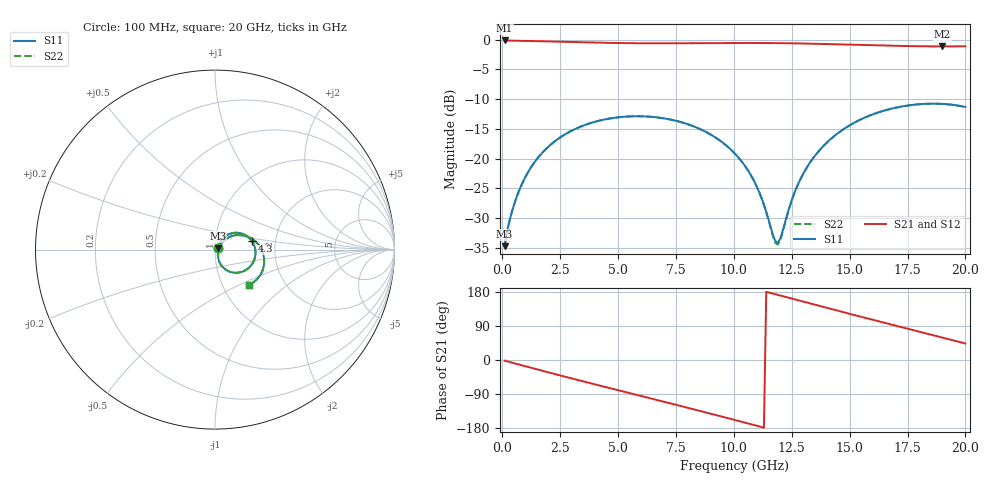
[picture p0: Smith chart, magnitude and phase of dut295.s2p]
! Touchstone file exported from HFSS 2026.1.0
!  File:  C:/ffzhzh/LocalFiles/Ansys_Project_Files/temp_train_TSV_RDL_295_1783088096_35048.aedt
!  Generated:  10:23:59 PM Jul  3, 2026
!  Design:  TSV_RDL
!  Project:  temp_train_TSV_RDL_295_1783088096_35048
! Variables:
!  h_bsmrdl = 5.26um
!  h_ox = 20um
!  h_rdl = 5um
!  h_sub = 67.37um
!  h_tmrdl = 5.58um
!  h_tsv = 67.37um
!  h_via = 3um
!  l_bsmrdl = 985.25um
!  l_sub = 5091.88um
!  l_tmrdl = 399.81um
!  m_sub = 200um
!  pitch = 35.31um
!  r_tsv = 14.95um
!  s_tmrdl = 10um
!  w_bsmrdl = 17.83um
!  w_sub = 500um
!  w_tmrdl = 27.8um
!  x_tsv_center1 = 413.71um
!  x_tsv_center2 = 1416.79um
!  x_tsv_center3 = 1844.4um
!  x_tsv_center4 = 2847.48um
!  x_tsv_center5 = 3275.09um
!  x_tsv_center6 = 4278.17um
# GHz S MA R 50.000000
! Terminal data exported
! Port[1] = TM_RDL1_1_T1
! Port[2] = TM_RDL5_1_T1
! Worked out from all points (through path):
!   200 points, 100 MHz to 20 GHz, reference 50 ohm
!   highest |S21| = -0.14 dB at 100 MHz (marker M1); lowest = -1.1 dB at 19 GHz (marker M2)
!   group delay of S21, straight-line fit = 43.9 ps
!   lowest |S11| = -34.7 dB at 100 MHz (marker M3), VSWR 1.04, Z = 51.7 + j0.848 ohm
!   |S11| at or under -10 dB: start of sweep to end of sweep
!   |S22| runs from -34.7 to -10.8 dB; largest |S21 - S12| = 1.7e-14
!   S11 on the Smith chart (normalised r, x): 100 MHz: 1.03, +0.02; 4.3 GHz: 1.51, +0.15; 20 GHz: 1.33, -0.56
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0.1  0.01839 26.5  0.9838 -1.8  0.9838 -1.8  0.01839 26.5
! Gamma 0 0 0 0
! Port Impedance 50 0 50 0
0.3  0.02937 45.2  0.9808 -5.1  0.9808 -5.1  0.02937 45.2
0.6  0.0464 53.9  0.9783 -10.0  0.9783 -10.0  0.0464 53.9
1.3  0.088 53.3  0.9728 -21.5  0.9728 -21.5  0.088 53.3
2.2  0.1366 42.8  0.9632 -36.0  0.9632 -36.0  0.1366 42.8
3.5  0.1896 24.5  0.9485 -56.5  0.9485 -56.5  0.1896 24.5
4.3  0.2109 13.0  0.941 -68.9  0.941 -68.9  0.2109 13.0
5.5  0.2264 -4.2  0.9336 -87.4  0.9336 -87.4  0.2264 -4.2
6.8  0.2206 -22.6  0.9308 -107.4  0.9308 -107.4  0.2206 -22.6
8.4  0.1821 -44.8  0.933 -132.2  0.933 -132.2  0.1822 -44.9
10.1  0.1073 -65.9  0.9366 -159.2  0.9366 -159.2  0.1073 -66.1
11  0.05773 -70.2  0.9366 -173.6  0.9366 -173.6  0.05762 -70.8
11.7  0.02248 -40.1  0.935 175.0  0.935 175.0  0.02194 -41.2
11.9  0.01968 -8.9  0.9342 171.8  0.9342 171.8  0.01898 -9.0
12.7  0.05664 43.6  0.9297 158.8  0.9297 158.8  0.05629 44.3
13.4  0.09954 41.8  0.924 147.5  0.924 147.5  0.0993 42.2
14.2  0.1471 33.3  0.9159 134.6  0.9159 134.6  0.1469 33.7
15.1  0.1954 21.7  0.9057 120.3  0.9057 120.3  0.1953 22.0
16.7  0.2599 -0.3  0.8885 95.1  0.8885 95.1  0.2598 -0.1
17.8  0.2841 -15.6  0.8804 78.0  0.8804 78.0  0.284 -15.5
19  0.2883 -32.3  0.8771 59.4  0.8771 59.4  0.2883 -32.2
20  0.2713 -46.1  0.8793 43.6  0.8793 43.6  0.2712 -46.0
